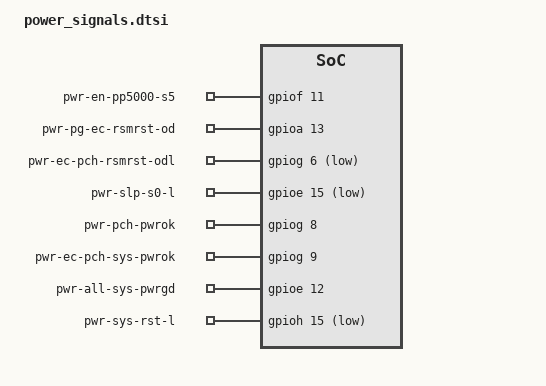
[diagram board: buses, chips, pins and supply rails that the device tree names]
/* Copyright 2025 The ChromiumOS Authors
 * Use of this source code is governed by a BSD-style license that can be
 * found in the LICENSE file.
 */

/ {
	chosen {
		intel-ap-pwrseq,espi = &espi0;
	};

	common-pwrseq {
		compatible = "intel,ap-pwrseq";

		sys-pwrok-delay = <3>;
		all-sys-pwrgd-timeout = <20>;
		sys-reset-delay = <60>;
	};

	pwr-en-pp5000-s5 {
		compatible = "intel,ap-pwrseq-gpio";
		dbg-label = "PP5000_S5 enable output to LS";
		enum-name = "PWR_EN_PP5000_A";
		gpios = <&gpiof 11 GPIO_ACTIVE_HIGH>;
		output;
	};
	pwr-pg-ec-rsmrst-od {
		compatible = "intel,ap-pwrseq-gpio";
		dbg-label = "RSMRST power good from regulator";
		enum-name = "PWR_RSMRST_PWRGD";
		gpios = <&gpioa 13 GPIO_ACTIVE_HIGH>;
		interrupt-flags = <GPIO_INT_EDGE_BOTH>;
	};
	pwr-ec-pch-rsmrst-odl {
		compatible = "intel,ap-pwrseq-gpio";
		dbg-label = "RSMRST output to PCH";
		enum-name = "PWR_EC_PCH_RSMRST";
		gpios = <&gpiog 6 GPIO_ACTIVE_LOW>;
		reset-val = <1>;
		output;
	};
	pwr-slp-s0-l {
		compatible = "intel,ap-pwrseq-gpio";
		dbg-label = "SLP_S0_L input from PCH";
		enum-name = "PWR_SLP_S0";
		gpios = <&gpioe 15 (GPIO_ACTIVE_LOW | GPIO_VOLTAGE_1P8)>;
		interrupt-flags = <GPIO_INT_EDGE_BOTH>;
	};
	pwr-pch-pwrok {
		compatible = "intel,ap-pwrseq-gpio";
		dbg-label = "PCH_PWROK output to PCH";
		enum-name = "PWR_PCH_PWROK";
		gpios = <&gpiog 8 GPIO_ACTIVE_HIGH>;
		output;
	};
	pwr-ec-pch-sys-pwrok {
		compatible = "intel,ap-pwrseq-gpio";
		dbg-label = "SYS_PWROK output to PCH";
		enum-name = "PWR_EC_PCH_SYS_PWROK";
		gpios = <&gpiog 9 GPIO_ACTIVE_HIGH>;
		output;
	};
	pwr-slp-s3 {
		compatible = "intel,ap-pwrseq-vw";
		dbg-label = "SLP_S3 virtual wire input from PCH";
		enum-name = "PWR_SLP_S3";
		virtual-wire = "ESPI_VWIRE_SIGNAL_SLP_S3";
		reset-val = <1>;
		vw-invert;
	};
	pwr-slp-s4 {
		compatible = "intel,ap-pwrseq-vw";
		dbg-label = "SLP_S4 virtual wire input from PCH";
		enum-name = "PWR_SLP_S4";
		virtual-wire = "ESPI_VWIRE_SIGNAL_SLP_S4";
		reset-val = <1>;
		vw-invert;
	};
	pwr-slp-s5 {
		compatible = "intel,ap-pwrseq-vw";
		dbg-label = "SLP_S5 virtual wire input from PCH";
		enum-name = "PWR_SLP_S5";
		virtual-wire = "ESPI_VWIRE_SIGNAL_SLP_S5";
		reset-val = <1>;
		vw-invert;
	};
	pwr-all-sys-pwrgd {
		compatible = "intel,ap-pwrseq-gpio";
		dbg-label = "all power good";
		enum-name = "PWR_ALL_SYS_PWRGD";
		gpios = <&gpioe 12 (GPIO_ACTIVE_HIGH | GPIO_VOLTAGE_1P8)>;
		interrupt-flags = <GPIO_INT_EDGE_BOTH>;
	};
	pwr-sys-rst-l {
		compatible = "intel,ap-pwrseq-gpio";
		dbg-label = "SYS_RESET# output to PCH";
		enum-name = "PWR_SYS_RST";
		gpios = <&gpioh 15 (GPIO_ACTIVE_LOW | GPIO_OPEN_DRAIN)>;
		output;
	};
	ap-power {
		compatible = "ap-pwrseq-sub-states";
		chipset = "S0ix";
	};
};

/*
 * Because the power signals directly reference the GPIOs,
 * the correspinding named-gpios need to have no-auto-init set.
 */
&gpio_5vsus_on {
	no-auto-init;
};
&gpio_rsmrst_pwrgd {
	no-auto-init;
};
&gpio_pm_rsmrst {
	no-auto-init;
};
&gpio_sys_slp_s0ix {
	no-auto-init;
};
&gpio_pm_pwrok {
	no-auto-init;
};
&gpio_pm_susb {
	no-auto-init;
};
&gpio_pm_susc {
	no-auto-init;
};
&gpio_all_sys_pwrgd {
	no-auto-init;
};
&gpio_sys_rst_odl {
	no-auto-init;
};
